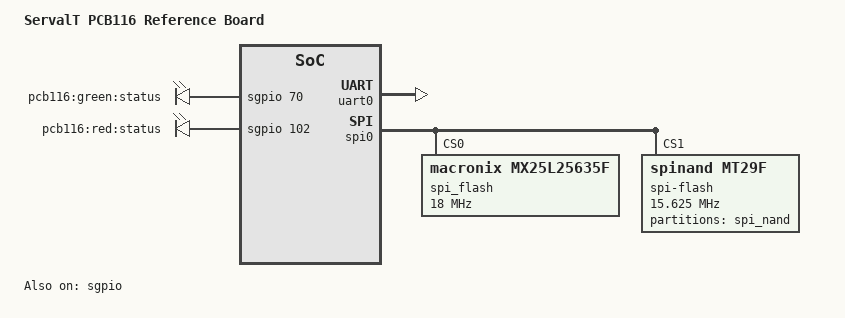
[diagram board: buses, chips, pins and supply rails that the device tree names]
// SPDX-License-Identifier: (GPL-2.0+ OR MIT)
/*
 * Copyright (c) 2018 Microsemi Corporation
 */

/dts-v1/;
#include "servalt.dtsi"

/ {
	model = "ServalT PCB116 Reference Board";
	compatible = "mscc,servalt-pcb116", "mscc,servalt";

	aliases {
		spi0 = &spi0;
		serial0 = &uart0;
	};

	chosen {
		stdout-path = "serial0:115200n8";
	};

	gpio-leds {
		compatible = "gpio-leds";

		status_green {
			label = "pcb116:green:status";
			gpios = <&sgpio 70 0>; //p6.2
			default-state = "on";
		};

		status_red {
			label = "pcb116:red:status";
			gpios = <&sgpio 102 0>; //p6.3
			default-state = "off";
		};
	};
};

&uart0 {
	status = "okay";
};

&spi0 {
	status = "okay";
	spi-flash@0 {
		label = "spi_flash";
		compatible = "macronix,mx25l25635f", "jedec,spi-nor";
		spi-max-frequency = <18000000>; /* input clock */
		reg = <0>; /* CS0 */
	};
	spi-flash@1 {
		compatible = "spinand,mt29f";
		pinctrl-0 = <&cs1_pins>;
		pinctrl-names = "default";
		spi-max-frequency = <15625000>;
		reg = <1>; /* CS1 */
		partitions {
			compatible = "fixed-partitions";
			#address-cells = <1>;
			#size-cells = <1>;
			/* 256MiB */
			partition@0 {
				    label = "spi_nand";
				    reg = <0x0000000 0x10000000>;
			};
		};
	};
};

&sgpio {
	status = "okay";
	sgpio-ports = <0x0000fe7f>;
};
